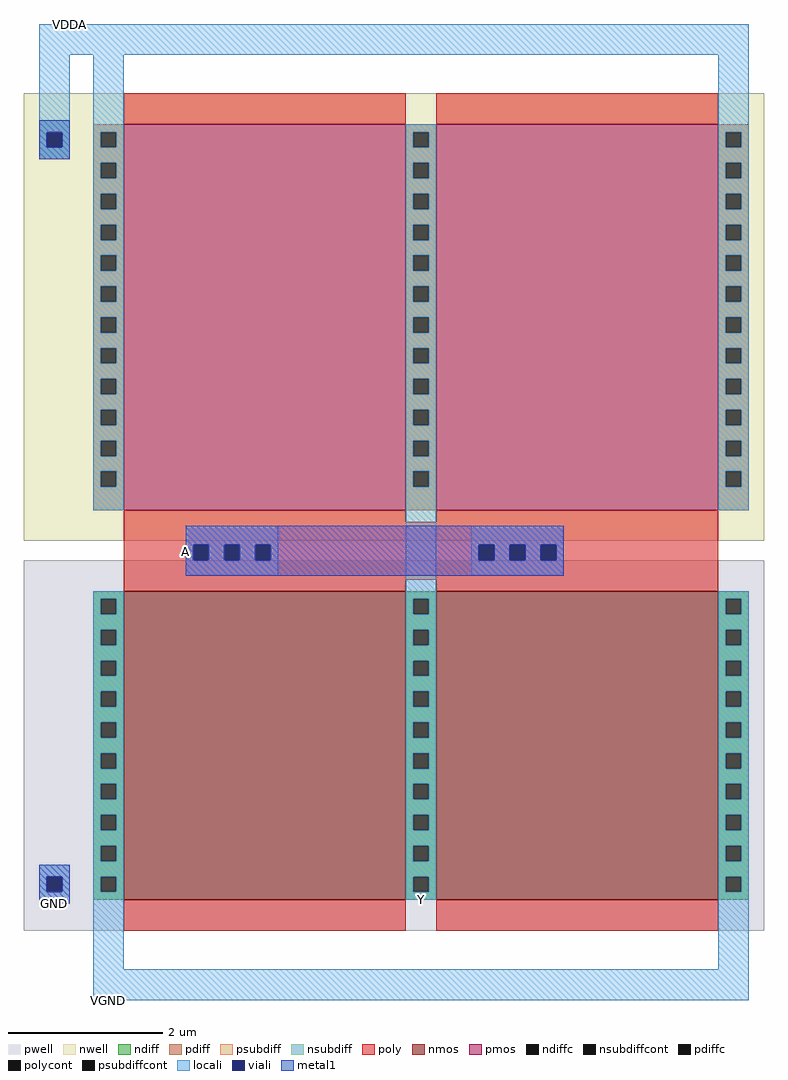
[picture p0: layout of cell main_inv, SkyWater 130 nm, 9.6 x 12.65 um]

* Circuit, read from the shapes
.subckt main_inv A Y VGND GND VDDA
XM1 Y A VGND GND sky130_fd_pr__nfet_01v8 w=4 l=3.65 m=2
XM2 Y A VDDA VDDA sky130_fd_pr__pfet_01v8 w=5 l=3.65 m=2
.ends

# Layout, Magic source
magic
tech sky130A
<< nwell >>
rect -130 -40 830 540
<< pwell >>
rect -130 -545 830 -65
<< nmos >>
rect 0 -505 365 -105
rect 405 -505 770 -105
<< pmos >>
rect 0 0 365 500
rect 405 0 770 500
<< ndiff >>
rect -40 -115 0 -105
rect -40 -135 -30 -115
rect -10 -135 0 -115
rect -40 -155 0 -135
rect -40 -175 -30 -155
rect -10 -175 0 -155
rect -40 -195 0 -175
rect -40 -215 -30 -195
rect -10 -215 0 -195
rect -40 -235 0 -215
rect -40 -255 -30 -235
rect -10 -255 0 -235
rect -40 -275 0 -255
rect -40 -295 -30 -275
rect -10 -295 0 -275
rect -40 -315 0 -295
rect -40 -335 -30 -315
rect -10 -335 0 -315
rect -40 -355 0 -335
rect -40 -375 -30 -355
rect -10 -375 0 -355
rect -40 -395 0 -375
rect -40 -415 -30 -395
rect -10 -415 0 -395
rect -40 -435 0 -415
rect -40 -455 -30 -435
rect -10 -455 0 -435
rect -40 -475 0 -455
rect -40 -495 -30 -475
rect -10 -495 0 -475
rect -40 -505 0 -495
rect 365 -115 405 -105
rect 365 -135 375 -115
rect 395 -135 405 -115
rect 365 -155 405 -135
rect 365 -175 375 -155
rect 395 -175 405 -155
rect 365 -195 405 -175
rect 365 -215 375 -195
rect 395 -215 405 -195
rect 365 -235 405 -215
rect 365 -255 375 -235
rect 395 -255 405 -235
rect 365 -275 405 -255
rect 365 -295 375 -275
rect 395 -295 405 -275
rect 365 -315 405 -295
rect 365 -335 375 -315
rect 395 -335 405 -315
rect 365 -355 405 -335
rect 365 -375 375 -355
rect 395 -375 405 -355
rect 365 -395 405 -375
rect 365 -415 375 -395
rect 395 -415 405 -395
rect 365 -435 405 -415
rect 365 -455 375 -435
rect 395 -455 405 -435
rect 365 -475 405 -455
rect 365 -495 375 -475
rect 395 -495 405 -475
rect 365 -505 405 -495
rect 770 -115 810 -105
rect 770 -135 780 -115
rect 800 -135 810 -115
rect 770 -155 810 -135
rect 770 -175 780 -155
rect 800 -175 810 -155
rect 770 -195 810 -175
rect 770 -215 780 -195
rect 800 -215 810 -195
rect 770 -235 810 -215
rect 770 -255 780 -235
rect 800 -255 810 -235
rect 770 -275 810 -255
rect 770 -295 780 -275
rect 800 -295 810 -275
rect 770 -315 810 -295
rect 770 -335 780 -315
rect 800 -335 810 -315
rect 770 -355 810 -335
rect 770 -375 780 -355
rect 800 -375 810 -355
rect 770 -395 810 -375
rect 770 -415 780 -395
rect 800 -415 810 -395
rect 770 -435 810 -415
rect 770 -455 780 -435
rect 800 -455 810 -435
rect 770 -475 810 -455
rect 770 -495 780 -475
rect 800 -495 810 -475
rect 770 -505 810 -495
<< pdiff >>
rect -40 490 0 500
rect -40 470 -30 490
rect -10 470 0 490
rect -40 450 0 470
rect -40 430 -30 450
rect -10 430 0 450
rect -40 410 0 430
rect -40 390 -30 410
rect -10 390 0 410
rect -40 370 0 390
rect -40 350 -30 370
rect -10 350 0 370
rect -40 330 0 350
rect -40 310 -30 330
rect -10 310 0 330
rect -40 290 0 310
rect -40 270 -30 290
rect -10 270 0 290
rect -40 250 0 270
rect -40 230 -30 250
rect -10 230 0 250
rect -40 210 0 230
rect -40 190 -30 210
rect -10 190 0 210
rect -40 170 0 190
rect -40 150 -30 170
rect -10 150 0 170
rect -40 130 0 150
rect -40 110 -30 130
rect -10 110 0 130
rect -40 90 0 110
rect -40 70 -30 90
rect -10 70 0 90
rect -40 50 0 70
rect -40 30 -30 50
rect -10 30 0 50
rect -40 0 0 30
rect 365 490 405 500
rect 365 470 375 490
rect 395 470 405 490
rect 365 450 405 470
rect 365 430 375 450
rect 395 430 405 450
rect 365 410 405 430
rect 365 390 375 410
rect 395 390 405 410
rect 365 370 405 390
rect 365 350 375 370
rect 395 350 405 370
rect 365 330 405 350
rect 365 310 375 330
rect 395 310 405 330
rect 365 290 405 310
rect 365 270 375 290
rect 395 270 405 290
rect 365 250 405 270
rect 365 230 375 250
rect 395 230 405 250
rect 365 210 405 230
rect 365 190 375 210
rect 395 190 405 210
rect 365 170 405 190
rect 365 150 375 170
rect 395 150 405 170
rect 365 130 405 150
rect 365 110 375 130
rect 395 110 405 130
rect 365 90 405 110
rect 365 70 375 90
rect 395 70 405 90
rect 365 50 405 70
rect 365 30 375 50
rect 395 30 405 50
rect 365 0 405 30
rect 770 490 810 500
rect 770 470 780 490
rect 800 470 810 490
rect 770 450 810 470
rect 770 430 780 450
rect 800 430 810 450
rect 770 410 810 430
rect 770 390 780 410
rect 800 390 810 410
rect 770 370 810 390
rect 770 350 780 370
rect 800 350 810 370
rect 770 330 810 350
rect 770 310 780 330
rect 800 310 810 330
rect 770 290 810 310
rect 770 270 780 290
rect 800 270 810 290
rect 770 250 810 270
rect 770 230 780 250
rect 800 230 810 250
rect 770 210 810 230
rect 770 190 780 210
rect 800 190 810 210
rect 770 170 810 190
rect 770 150 780 170
rect 800 150 810 170
rect 770 130 810 150
rect 770 110 780 130
rect 800 110 810 130
rect 770 90 810 110
rect 770 70 780 90
rect 800 70 810 90
rect 770 50 810 70
rect 770 30 780 50
rect 800 30 810 50
rect 770 0 810 30
<< ndiffc >>
rect -30 -135 -10 -115
rect -30 -175 -10 -155
rect -30 -215 -10 -195
rect -30 -255 -10 -235
rect -30 -295 -10 -275
rect -30 -335 -10 -315
rect -30 -375 -10 -355
rect -30 -415 -10 -395
rect -30 -455 -10 -435
rect -30 -495 -10 -475
rect 375 -135 395 -115
rect 375 -175 395 -155
rect 375 -215 395 -195
rect 375 -255 395 -235
rect 375 -295 395 -275
rect 375 -335 395 -315
rect 375 -375 395 -355
rect 375 -415 395 -395
rect 375 -455 395 -435
rect 375 -495 395 -475
rect 780 -135 800 -115
rect 780 -175 800 -155
rect 780 -215 800 -195
rect 780 -255 800 -235
rect 780 -295 800 -275
rect 780 -335 800 -315
rect 780 -375 800 -355
rect 780 -415 800 -395
rect 780 -455 800 -435
rect 780 -495 800 -475
<< pdiffc >>
rect -30 470 -10 490
rect -30 430 -10 450
rect -30 390 -10 410
rect -30 350 -10 370
rect -30 310 -10 330
rect -30 270 -10 290
rect -30 230 -10 250
rect -30 190 -10 210
rect -30 150 -10 170
rect -30 110 -10 130
rect -30 70 -10 90
rect -30 30 -10 50
rect 375 470 395 490
rect 375 430 395 450
rect 375 390 395 410
rect 375 350 395 370
rect 375 310 395 330
rect 375 270 395 290
rect 375 230 395 250
rect 375 190 395 210
rect 375 150 395 170
rect 375 110 395 130
rect 375 70 395 90
rect 375 30 395 50
rect 780 470 800 490
rect 780 430 800 450
rect 780 390 800 410
rect 780 350 800 370
rect 780 310 800 330
rect 780 270 800 290
rect 780 230 800 250
rect 780 190 800 210
rect 780 150 800 170
rect 780 110 800 130
rect 780 70 800 90
rect 780 30 800 50
<< psubdiff >>
rect -110 -475 -70 -460
rect -110 -495 -100 -475
rect -80 -495 -70 -475
rect -110 -510 -70 -495
<< nsubdiff >>
rect -110 490 -70 505
rect -110 470 -100 490
rect -80 470 -70 490
rect -110 455 -70 470
<< psubdiffcont >>
rect -100 -495 -80 -475
<< nsubdiffcont >>
rect -100 470 -80 490
<< poly >>
rect 0 500 365 540
rect 405 500 770 540
rect 0 -15 365 0
rect 405 -15 770 0
rect 0 -45 770 -15
rect 0 -65 90 -45
rect 110 -65 130 -45
rect 150 -65 170 -45
rect 190 -65 460 -45
rect 480 -65 500 -45
rect 520 -65 540 -45
rect 560 -65 770 -45
rect 0 -90 770 -65
rect 0 -105 365 -90
rect 405 -105 770 -90
rect 0 -545 365 -505
rect 405 -545 770 -505
<< polycont >>
rect 90 -65 110 -45
rect 130 -65 150 -45
rect 170 -65 190 -45
rect 460 -65 480 -45
rect 500 -65 520 -45
rect 540 -65 560 -45
<< locali >>
rect -110 590 810 630
rect -110 490 -70 590
rect -110 470 -100 490
rect -80 470 -70 490
rect -110 455 -70 470
rect -40 490 0 590
rect -40 470 -30 490
rect -10 470 0 490
rect -40 450 0 470
rect -40 430 -30 450
rect -10 430 0 450
rect -40 410 0 430
rect -40 390 -30 410
rect -10 390 0 410
rect -40 370 0 390
rect -40 350 -30 370
rect -10 350 0 370
rect -40 330 0 350
rect -40 310 -30 330
rect -10 310 0 330
rect -40 290 0 310
rect -40 270 -30 290
rect -10 270 0 290
rect -40 250 0 270
rect -40 230 -30 250
rect -10 230 0 250
rect -40 210 0 230
rect -40 190 -30 210
rect -10 190 0 210
rect -40 170 0 190
rect -40 150 -30 170
rect -10 150 0 170
rect -40 130 0 150
rect -40 110 -30 130
rect -10 110 0 130
rect -40 90 0 110
rect -40 70 -30 90
rect -10 70 0 90
rect -40 50 0 70
rect -40 30 -30 50
rect -10 30 0 50
rect -40 0 0 30
rect 365 490 405 500
rect 365 470 375 490
rect 395 470 405 490
rect 365 450 405 470
rect 365 430 375 450
rect 395 430 405 450
rect 365 410 405 430
rect 365 390 375 410
rect 395 390 405 410
rect 365 370 405 390
rect 365 350 375 370
rect 395 350 405 370
rect 365 330 405 350
rect 365 310 375 330
rect 395 310 405 330
rect 365 290 405 310
rect 365 270 375 290
rect 395 270 405 290
rect 365 250 405 270
rect 365 230 375 250
rect 395 230 405 250
rect 365 210 405 230
rect 365 190 375 210
rect 395 190 405 210
rect 365 170 405 190
rect 365 150 375 170
rect 395 150 405 170
rect 365 130 405 150
rect 365 110 375 130
rect 395 110 405 130
rect 365 90 405 110
rect 365 70 375 90
rect 395 70 405 90
rect 365 50 405 70
rect 365 30 375 50
rect 395 30 405 50
rect 80 -45 200 -20
rect 80 -65 90 -45
rect 110 -65 130 -45
rect 150 -65 170 -45
rect 190 -65 200 -45
rect 80 -85 200 -65
rect -40 -115 0 -105
rect -40 -135 -30 -115
rect -10 -135 0 -115
rect -40 -155 0 -135
rect -40 -175 -30 -155
rect -10 -175 0 -155
rect -40 -195 0 -175
rect -40 -215 -30 -195
rect -10 -215 0 -195
rect -40 -235 0 -215
rect -40 -255 -30 -235
rect -10 -255 0 -235
rect -40 -275 0 -255
rect -40 -295 -30 -275
rect -10 -295 0 -275
rect -40 -315 0 -295
rect -40 -335 -30 -315
rect -10 -335 0 -315
rect -40 -355 0 -335
rect -40 -375 -30 -355
rect -10 -375 0 -355
rect -40 -395 0 -375
rect -40 -415 -30 -395
rect -10 -415 0 -395
rect -40 -435 0 -415
rect -40 -455 -30 -435
rect -10 -455 0 -435
rect -110 -475 -70 -460
rect -110 -495 -100 -475
rect -80 -495 -70 -475
rect -110 -510 -70 -495
rect -40 -475 0 -455
rect -40 -495 -30 -475
rect -10 -495 0 -475
rect -40 -595 0 -495
rect 365 -115 405 30
rect 770 490 810 590
rect 770 470 780 490
rect 800 470 810 490
rect 770 450 810 470
rect 770 430 780 450
rect 800 430 810 450
rect 770 410 810 430
rect 770 390 780 410
rect 800 390 810 410
rect 770 370 810 390
rect 770 350 780 370
rect 800 350 810 370
rect 770 330 810 350
rect 770 310 780 330
rect 800 310 810 330
rect 770 290 810 310
rect 770 270 780 290
rect 800 270 810 290
rect 770 250 810 270
rect 770 230 780 250
rect 800 230 810 250
rect 770 210 810 230
rect 770 190 780 210
rect 800 190 810 210
rect 770 170 810 190
rect 770 150 780 170
rect 800 150 810 170
rect 770 130 810 150
rect 770 110 780 130
rect 800 110 810 130
rect 770 90 810 110
rect 770 70 780 90
rect 800 70 810 90
rect 770 50 810 70
rect 770 30 780 50
rect 800 30 810 50
rect 770 0 810 30
rect 450 -45 570 -20
rect 450 -65 460 -45
rect 480 -65 500 -45
rect 520 -65 540 -45
rect 560 -65 570 -45
rect 450 -85 570 -65
rect 365 -135 375 -115
rect 395 -135 405 -115
rect 365 -155 405 -135
rect 365 -175 375 -155
rect 395 -175 405 -155
rect 365 -195 405 -175
rect 365 -215 375 -195
rect 395 -215 405 -195
rect 365 -235 405 -215
rect 365 -255 375 -235
rect 395 -255 405 -235
rect 365 -275 405 -255
rect 365 -295 375 -275
rect 395 -295 405 -275
rect 365 -315 405 -295
rect 365 -335 375 -315
rect 395 -335 405 -315
rect 365 -355 405 -335
rect 365 -375 375 -355
rect 395 -375 405 -355
rect 365 -395 405 -375
rect 365 -415 375 -395
rect 395 -415 405 -395
rect 365 -435 405 -415
rect 365 -455 375 -435
rect 395 -455 405 -435
rect 365 -475 405 -455
rect 365 -495 375 -475
rect 395 -495 405 -475
rect 365 -505 405 -495
rect 770 -115 810 -105
rect 770 -135 780 -115
rect 800 -135 810 -115
rect 770 -155 810 -135
rect 770 -175 780 -155
rect 800 -175 810 -155
rect 770 -195 810 -175
rect 770 -215 780 -195
rect 800 -215 810 -195
rect 770 -235 810 -215
rect 770 -255 780 -235
rect 800 -255 810 -235
rect 770 -275 810 -255
rect 770 -295 780 -275
rect 800 -295 810 -275
rect 770 -315 810 -295
rect 770 -335 780 -315
rect 800 -335 810 -315
rect 770 -355 810 -335
rect 770 -375 780 -355
rect 800 -375 810 -355
rect 770 -395 810 -375
rect 770 -415 780 -395
rect 800 -415 810 -395
rect 770 -435 810 -415
rect 770 -455 780 -435
rect 800 -455 810 -435
rect 770 -475 810 -455
rect 770 -495 780 -475
rect 800 -495 810 -475
rect 770 -595 810 -495
rect -40 -635 810 -595
<< viali >>
rect -100 470 -80 490
rect 90 -65 110 -45
rect 130 -65 150 -45
rect 170 -65 190 -45
rect -100 -495 -80 -475
rect 460 -65 480 -45
rect 500 -65 520 -45
rect 540 -65 560 -45
<< metal1 >>
rect -110 490 -70 505
rect -110 470 -100 490
rect -80 470 -70 490
rect -110 455 -70 470
rect 80 -45 570 -20
rect 80 -65 90 -45
rect 110 -65 130 -45
rect 150 -65 170 -45
rect 190 -65 460 -45
rect 480 -65 500 -45
rect 520 -65 540 -45
rect 560 -65 570 -45
rect 80 -85 570 -65
rect -110 -475 -70 -460
rect -110 -495 -100 -475
rect -80 -495 -70 -475
rect -110 -510 -70 -495
<< labels >>
rlabel locali -20 -635 -20 -635 5 VGND
port 3 s
rlabel metal1 -90 -510 -90 -510 5 GND
port 4 s
rlabel locali -70 630 -70 630 1 VDDA
port 5 n
rlabel metal1 80 -54 80 -54 7 A
port 1 w
rlabel locali 385 -505 385 -505 5 Y
port 2 s
<< end >>
